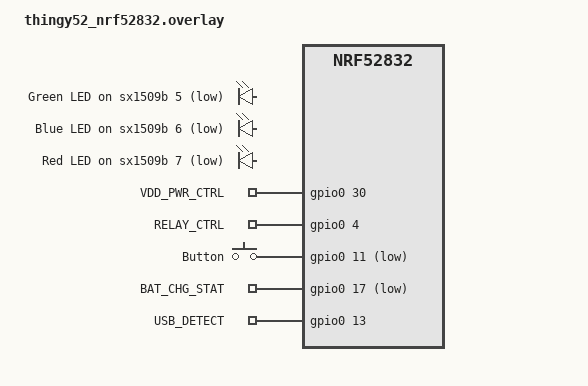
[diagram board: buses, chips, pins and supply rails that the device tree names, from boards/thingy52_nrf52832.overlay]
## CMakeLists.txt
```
#
# Copyright (c) 2019 Nordic Semiconductor ASA
#
# SPDX-License-Identifier: LicenseRef-BSD-5-Clause-Nordic
#
cmake_minimum_required(VERSION 3.8.2)

find_package(Zephyr REQUIRED HINTS $ENV{ZEPHYR_BASE})
project(NONE)

target_sources(app PRIVATE
	src/main.c
	src/model_handler.c
	src/fogger.c)
target_include_directories(app PRIVATE include)
```

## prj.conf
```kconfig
#
# Copyright (c) 2019 Nordic Semiconductor ASA
#
# SPDX-License-Identifier: LicenseRef-BSD-5-Clause-Nordic
#
CONFIG_NCS_SAMPLES_DEFAULTS=y

# General configuration
CONFIG_SYSTEM_WORKQUEUE_STACK_SIZE=2048
CONFIG_FLASH=y
CONFIG_FLASH_MAP=y
CONFIG_FCB=y
CONFIG_SETTINGS=y
CONFIG_HWINFO=y
CONFIG_LOG=n
CONFIG_LOG_PRINTK=n

CONFIG_BT_MESH_DK_PROV=y

# Bluetooth configuration
CONFIG_BT=y
CONFIG_BT_COMPANY_ID=0x0059
CONFIG_BT_DEVICE_NAME="Mesh Light"
CONFIG_BT_L2CAP_RX_MTU=69
CONFIG_BT_L2CAP_TX_MTU=69
CONFIG_BT_L2CAP_TX_BUF_COUNT=8
CONFIG_BT_LL_SW_SPLIT=y
CONFIG_BT_OBSERVER=y
CONFIG_BT_PERIPHERAL=y
CONFIG_BT_SETTINGS=y
CONFIG_BT_HCI_ACL_FLOW_CONTROL=n

# Disable unused Bluetooth features
CONFIG_BT_CTLR_DUP_FILTER_LEN=0
CONFIG_BT_CTLR_LE_ENC=n
CONFIG_BT_DATA_LEN_UPDATE=n
CONFIG_BT_PHY_UPDATE=n
CONFIG_BT_CTLR_CHAN_SEL_2=n
CONFIG_BT_CTLR_MIN_USED_CHAN=n
CONFIG_BT_CTLR_PRIVACY=n

# Bluetooth Mesh configuration
CONFIG_BT_MESH=y
CONFIG_BT_MESH_RELAY=y
CONFIG_BT_MESH_FRIEND=y
CONFIG_BT_MESH_ADV_BUF_COUNT=13
CONFIG_BT_MESH_TX_SEG_MAX=10
CONFIG_BT_MESH_PB_GATT=y
CONFIG_BT_MESH_GATT_PROXY=y

# Bluetooth Mesh models
CONFIG_BT_MESH_ONOFF_SRV=y

CONFIG_DEBUG=n
```

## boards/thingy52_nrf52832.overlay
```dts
/*
 * Copyright (c) 2020 Daniel Veilleux
 *
 * SPDX-License-Identifier: Apache-2.0
 */

/ {
	leds {
		compatible = "gpio-leds";
		/* Lightwell RGB */
		led0: led_0 {
			gpios = <&sx1509b 5 GPIO_ACTIVE_LOW>;
			label = "Green LED";
		};
		led1: led_1 {
			gpios = <&sx1509b 6 GPIO_ACTIVE_LOW>;
			label = "Blue LED";
		};
		led2: led_2 {
			gpios = <&sx1509b 7 GPIO_ACTIVE_LOW>;
			label = "Red LED";
		};
		VDD_PWR_CTRL: vdd_pwr_ctrl {
			gpios = <&gpio0 30 GPIO_ACTIVE_HIGH>;
			label = "VDD_PWR_CTRL";
		};
		RELAY_CTRL: relay_ctrl {
			gpios = <&gpio0 4 GPIO_ACTIVE_HIGH>;
			label = "RELAY_CTRL";
		};
	};

	buttons {
		compatible = "gpio-keys";
		button0: button_0 {
			/* gpio flags need validation */
			gpios = <&gpio0 11 (GPIO_PULL_UP | GPIO_ACTIVE_LOW)>;
			label = "Button";
		};
    	BAT_CHG_STATE: bat_chg_stat {
			gpios = <&gpio0 17 GPIO_ACTIVE_LOW>;
			label = "BAT_CHG_STAT";
		};
    	USB_DETECT: usb_detect {
			gpios = <&gpio0 13 GPIO_ACTIVE_HIGH>;
			label = "USB_DETECT";
		};
	};
};
```

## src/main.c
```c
/*
 * Copyright (c) 2020 Daniel Veilleux
 *
 * SPDX-License-Identifier: LicenseRef-BSD-5-Clause-Nordic
 */

#include <device.h>
#include <drivers/gpio.h>
#include <bluetooth/bluetooth.h>
#include <bluetooth/mesh/models.h>
#include <bluetooth/mesh/dk_prov.h>
#include "model_handler.h"
#include "fogger.h"

#define SWITCH_DEBOUNCE_MS  200

enum fogger_elem {
    FOGGER_ELEM_BUTTON,
    FOGGER_ELEM_READY
};

static const char * const   m_button_port  = DT_GPIO_LABEL(DT_NODELABEL(button0), gpios);
static const u8_t           m_button_pin   = DT_GPIO_PIN(DT_NODELABEL(button0),   gpios);
static const u32_t          m_button_flags = DT_GPIO_FLAGS(DT_NODELABEL(button0), gpios);
static struct device       *m_button_dev;

static struct gpio_callback m_gpio_cb_data;

static const char * const   m_err_led_port  = DT_GPIO_LABEL(DT_NODELABEL(led2), gpios);
static const u8_t           m_err_led_pin   = DT_GPIO_PIN(DT_NODELABEL(led2),   gpios);
static const u32_t          m_err_led_flags = DT_GPIO_FLAGS(DT_NODELABEL(led2), gpios);
static struct device       *m_err_led_dev;

static bool m_button_pressed;

static void debounce_timer_expire(struct k_timer *timer_id);

K_TIMER_DEFINE(main_debounce_timer, debounce_timer_expire, NULL);

static void oops(void);
static void fogger_callback(enum fogger_state status);

static struct k_work fogger_status_work;

static void workq_fogger_status(struct k_work *item)
{
    int err;
    enum fogger_state state;

    err = fogger_state_get(&state);
    if (err) {
        oops();
        return;
    }
    fogger_callback(state);
}

static void debounce_timer_expire(struct k_timer *timer_id)
{
    int val = gpio_pin_get(m_button_dev, m_button_pin);
    if (val) {
        if (!m_button_pressed) {
            fogger_start();
            m_button_pressed = true;
        }
    } else {
        if (m_button_pressed) {
            fogger_stop();
            m_button_pressed = false;
        }
    }
}

static void input_changed(struct device *dev, struct gpio_callback *cb, u32_t pins)
{
    k_timer_start(&main_debounce_timer, K_MSEC(SWITCH_DEBOUNCE_MS), K_MSEC(0));
}

static int gpio_init(void)
{
    int ret;

    m_button_dev = device_get_binding(m_button_port);
    if (!m_button_dev) {
        return -ENODEV;
    }

    m_err_led_dev = device_get_binding(m_err_led_port);
    if (!m_err_led_dev) {
        return -ENODEV;
    }

    ret = gpio_pin_configure(m_button_dev, m_button_pin, (GPIO_INPUT | m_button_flags));
    if (ret != 0) {
        return ret;
    }

    ret = gpio_pin_configure(m_err_led_dev, m_err_led_pin, (GPIO_OUTPUT | m_err_led_flags));
    if (ret != 0) {
        return ret;
    }

    ret = gpio_pin_interrupt_configure(m_button_dev,
                                       m_button_pin,
                                       GPIO_INT_EDGE_BOTH);
    if (ret != 0) {
        return ret;
    }

    gpio_init_callback(&m_gpio_cb_data, input_changed, BIT(m_button_pin));
    gpio_add_callback(m_button_dev, &m_gpio_cb_data);

    return 0;
}

static void oops(void)
{
    gpio_pin_set(m_err_led_dev, m_err_led_pin, 1);
    k_oops();
}

static void model_handler_callback(uint8_t elem_indx, bool status)
{
    switch (elem_indx) {
    case FOGGER_ELEM_BUTTON:
        if (status) {
            fogger_start();
        } else {
            fogger_stop();
        }
        break;
    case FOGGER_ELEM_READY:
        /* Writing to this element doesn't have any effect. Immediately generate a status
           callback to ensure that the value in the mesh is up-to-date. */
        k_work_submit(&fogger_status_work);
        break;
    default:
        oops();
        break;
    }
}

static void fogger_callback(enum fogger_state status)
{
    int err;

    switch (status) {
    case FOGGER_STATE_HEATING:
        err = model_handler_elem_update(FOGGER_ELEM_BUTTON, false);
        if (err) {
            oops();
            return;
        }
        err = model_handler_elem_update(FOGGER_ELEM_READY, false);
        if (err) {
            oops();
            return;
        }
        break;
    case FOGGER_STATE_READY:
        if (m_button_pressed) {
            fogger_start();
        }
        err = model_handler_elem_update(FOGGER_ELEM_BUTTON, false);
        if (err) {
            oops();
            return;
        }
        err = model_handler_elem_update(FOGGER_ELEM_READY, true);
        if (err) {
            oops();
            return;
        }
        break;
    case FOGGER_STATE_FOGGING:
        err = model_handler_elem_update(FOGGER_ELEM_BUTTON, true);
        if (err) {
            oops();
            return;
        }
        err = model_handler_elem_update(FOGGER_ELEM_READY, true);
        if (err) {
            oops();
            return;
        }
        break;
    default:
        oops();
        break;
    }
}

static void bt_ready(int err)
{
    const struct bt_mesh_comp *p_comp;

    if (err) {
        oops();
        return;
    }

    err = model_handler_init(&p_comp, &model_handler_callback);
    if (err) {
        oops();
        return;
    }

    err = bt_mesh_init(bt_mesh_dk_prov_init(), p_comp);
    if (err) {
        oops();
        return;
    }

    if (IS_ENABLED(CONFIG_SETTINGS)) {
        settings_load();
    }

    /* This will be a no-op if settings_load() loaded provisioning info */
    bt_mesh_prov_enable(BT_MESH_PROV_ADV | BT_MESH_PROV_GATT);

    k_work_submit(&fogger_status_work);
}

int main(void)
{
    int err;

    k_work_init(&fogger_status_work,workq_fogger_status);

    err = gpio_init();
    if (err) {
        oops();
    }

    m_button_pressed = gpio_pin_get(m_button_dev, m_button_pin);

    err = fogger_init(&fogger_callback);
    if (err) {
        oops();
    }

    err = bt_enable(bt_ready);
    if (err) {
        oops();
    }

    return 0;
}
```

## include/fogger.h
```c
/*
 * Copyright (c) 2020 Daniel Veilleux
 *
 * SPDX-License-Identifier: LicenseRef-BSD-5-Clause-Nordic
 */

#ifndef FOGGER_H__
#define FOGGER_H__

enum fogger_state {
	FOGGER_STATE_HEATING,
	FOGGER_STATE_READY,
	FOGGER_STATE_FOGGING
};

/* Called whenever the fogger changes state */
typedef void (*fogger_status_cb)(enum fogger_state);

/**
 * @brief Initialize GPIO and internal state
 *
 * @retval  0 success
 * @retval -2 GPIO init failed
 */
int fogger_init(fogger_status_cb p_status_cb);

/**
 * @brief Get the current state of the fogger
 *
 * @retval -1 module has not been initialized
 * @retval -2 state is NULL
 */
int fogger_state_get(enum fogger_state *p_state);

/**
 * @brief Start producing fog, if possible
 *
 * Attempt to start the fog machine. Has no effect if the machine is currently
 * active or is not ready because it is heating. Uses the system workqueue.
 *
 * @retval -1 module has not been initialized
 */
int fogger_start(void);

/**
 * @brief Stop producing fog
 *
 * Ensure that the fog machine is not producing fog. Has no effect if the
 * machine is not currently fogging. Uses the system workqueue.
 *
 * @retval -1 module has not been initialized
 */
int fogger_stop(void);

#endif /* FOGGER_H__ */
```

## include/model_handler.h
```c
/*
 * Copyright (c) 2019 Nordic Semiconductor ASA
 *
 * SPDX-License-Identifier: LicenseRef-BSD-5-Clause-Nordic
 */

/**
 * @file
 * @brief Model handler
 */

#ifndef MODEL_HANDLER_H__
#define MODEL_HANDLER_H__

#include <bluetooth/mesh.h>

#ifdef __cplusplus
extern "C" {
#endif

#define ELEMENT_COUNT 2

/* Called whenever an element receives a 'set' command */
typedef void (*model_handler_set_cb)(uint8_t elem_indx, bool status);

/**
 * @brief Initialize GPIO and workqueue items
 *
 * @retval  0 success
 * @retval -1 set_cb is NULL
 */
const int model_handler_init(const struct bt_mesh_comp **p_comp, model_handler_set_cb p_set_cb);

/**
 * @brief Set the specified element's status
 *
 * @retval  0 success
 * @retval -1 module has not been initialized
 * @retval -2 element_index is invalid
 */
int model_handler_elem_update(uint8_t elem_indx, bool status);

#ifdef __cplusplus
}
#endif

#endif /* MODEL_HANDLER_H__ */
```

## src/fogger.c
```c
/*
 * Copyright (c) 2020 Daniel Veilleux
 *
 * SPDX-License-Identifier: LicenseRef-BSD-5-Clause-Nordic
 */

#include <drivers/gpio.h>
#include "fogger.h"

#define SWITCH_DEBOUNCE_MS  50

static const char * const   m_usb_detect_port  = DT_GPIO_LABEL(DT_NODELABEL(usb_detect), gpios);
static const u8_t           m_usb_detect_pin   = DT_GPIO_PIN(DT_NODELABEL(usb_detect),   gpios);
static const u32_t          m_usb_detect_flags = DT_GPIO_FLAGS(DT_NODELABEL(usb_detect), gpios);
static struct device       *m_usb_detect_dev;

static struct gpio_callback m_gpio_cb_data;

static const char * const   m_relay_ctrl_port  = DT_GPIO_LABEL(DT_NODELABEL(relay_ctrl), gpios);
static const u8_t           m_relay_ctrl_pin   = DT_GPIO_PIN(DT_NODELABEL(relay_ctrl),   gpios);
static const u32_t          m_relay_ctrl_flags = DT_GPIO_FLAGS(DT_NODELABEL(relay_ctrl), gpios);
static struct device       *m_relay_ctrl_dev;

static bool             m_initialized = false;
static bool             m_relay_engaged;
static bool             m_machine_ready;
static fogger_status_cb m_status_cb;

static void debounce_timer_expire(struct k_timer *timer_id);

K_TIMER_DEFINE(fogger_debounce_timer, debounce_timer_expire, NULL);

static struct k_work m_fogger_status_work;
static struct k_work m_fogger_start_work;
static struct k_work m_fogger_stop_work;

static enum fogger_state status_get(void)
{
    if (!m_machine_ready) {
        return FOGGER_STATE_HEATING;
    } else if (m_relay_engaged) {
        return FOGGER_STATE_FOGGING;
    } else {
        return FOGGER_STATE_READY;
    }
}

static bool relay_set(bool state)
{
    if (state) {
        if (!m_relay_engaged) {
            m_relay_engaged = true;
            gpio_pin_set(m_relay_ctrl_dev, m_relay_ctrl_pin, 1);
            return true;
        }
    } else {
        if (m_relay_engaged) {
            m_relay_engaged = false;
            gpio_pin_set(m_relay_ctrl_dev, m_relay_ctrl_pin, 0);
            return true;
        }
    }
    return false;
}

static void workq_status_cb(struct k_work *item)
{
    if (NULL != m_status_cb) {
        m_status_cb(status_get());
    }
}

static void workq_fogger_start(struct k_work *item)
{
    if (m_machine_ready) {
        if (relay_set(true)) {
            if (NULL != m_status_cb) {
                m_status_cb(FOGGER_STATE_FOGGING);
            }
        }
    } else {
        /* Use the callback to set the state back to zero. */
        if (NULL != m_status_cb) {
            m_status_cb(FOGGER_STATE_HEATING);
        }
    }
}

static void workq_fogger_stop(struct k_work *item)
{
    if (relay_set(false)) {
        if (NULL != m_status_cb) {
            m_status_cb(status_get());
        }
    }
}

static void debounce_timer_expire(struct k_timer *timer_id)
{
    int val = gpio_pin_get(m_usb_detect_dev, m_usb_detect_pin);
    if (val) {
        if (!m_machine_ready) {
            k_work_submit(&m_fogger_status_work);
            m_machine_ready = true;
        }

    } else {
        if (m_machine_ready) {
            if (m_relay_engaged) {
                k_work_submit(&m_fogger_stop_work);
            } else {
                k_work_submit(&m_fogger_status_work);
            }
            m_machine_ready = false;
        }
    }
}

static void input_changed(struct device *dev, struct gpio_callback *cb, u32_t pins)
{
    k_timer_start(&fogger_debounce_timer, K_MSEC(SWITCH_DEBOUNCE_MS), K_MSEC(0));
}

static int gpio_init(void)
{
    int ret;

    m_usb_detect_dev = device_get_binding(m_usb_detect_port);
    if (!m_usb_detect_dev) {
        return -ENODEV;
    }

    m_relay_ctrl_dev = device_get_binding(m_relay_ctrl_port);
    if (!m_relay_ctrl_dev) {
        return -ENODEV;
    }

    ret = gpio_pin_configure(m_usb_detect_dev, m_usb_detect_pin, (GPIO_INPUT | m_usb_detect_flags));
    if (ret != 0) {
        return ret;
    }

    ret = gpio_pin_configure(m_relay_ctrl_dev, m_relay_ctrl_pin, (GPIO_OUTPUT | m_relay_ctrl_flags));
    if (ret != 0) {
        return ret;
    }

    ret = gpio_pin_interrupt_configure(m_usb_detect_dev,
                                       m_usb_detect_pin,
                                       GPIO_INT_EDGE_BOTH);
    if (ret != 0) {
        return ret;
    }

    gpio_init_callback(&m_gpio_cb_data, input_changed, BIT(m_usb_detect_pin));
    gpio_add_callback(m_usb_detect_dev, &m_gpio_cb_data);

    return 0;
}

int fogger_start(void)
{
    if (!m_initialized) {
        return -1;
    }
    k_work_submit(&m_fogger_start_work);
    return 0;
}

int fogger_stop(void)
{
    if (!m_initialized) {
        return -1;
    }
    k_work_submit(&m_fogger_stop_work);
    return 0;
}

int fogger_state_get(enum fogger_state *p_state)
{
    if (!m_initialized) {
        return -1;
    }

    if (NULL == p_state) {
        return -2;
    }

    *p_state = status_get();
    return 0;
}

int fogger_init(fogger_status_cb p_status_cb)
{
    int err = gpio_init();
    if (err) {
        return -2;
    }

    gpio_pin_set(m_relay_ctrl_dev, m_relay_ctrl_pin, 0);

    k_work_init(&m_fogger_status_work, workq_status_cb);
    k_work_init(&m_fogger_stop_work,   workq_fogger_stop);
    k_work_init(&m_fogger_start_work,  workq_fogger_start);

    m_relay_engaged  = false;
    m_machine_ready  = gpio_pin_get(m_usb_detect_dev, m_usb_detect_pin);
    m_status_cb      = p_status_cb;
    m_initialized    = true;

    return 0;
}
```

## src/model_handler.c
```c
/*
 * Copyright (c) 2020 Daniel Veilleux
 *
 * SPDX-License-Identifier: LicenseRef-BSD-5-Clause-Nordic
 */

#include <drivers/gpio.h>
#include <bluetooth/bluetooth.h>
#include <bluetooth/mesh/models.h>
#include "model_handler.h"


static bool                 m_initialized = false;
static model_handler_set_cb m_set_cb = NULL;

static const char * const   m_attention_led_port  = DT_GPIO_LABEL(DT_NODELABEL(led1), gpios);
static const u8_t           m_attention_led_pin   = DT_GPIO_PIN(DT_NODELABEL(led1),   gpios);
static const u32_t          m_attention_led_flags = DT_GPIO_FLAGS(DT_NODELABEL(led1), gpios);
static struct device       *m_attention_led_dev;

static void led_set(struct bt_mesh_onoff_srv *srv, struct bt_mesh_msg_ctx *ctx,
            const struct bt_mesh_onoff_set *set,
            struct bt_mesh_onoff_status *rsp);

static void led_get(struct bt_mesh_onoff_srv *srv, struct bt_mesh_msg_ctx *ctx,
            struct bt_mesh_onoff_status *rsp);

static const struct bt_mesh_onoff_srv_handlers onoff_handlers = {
    .set = led_set,
    .get = led_get,
};

struct led_ctx {
    struct bt_mesh_onoff_srv srv;
    struct k_delayed_work work;
    u32_t remaining;
    bool value;
};

static struct led_ctx led_ctx[ELEMENT_COUNT] = {
    [0 ... 1] = {
        .srv = BT_MESH_ONOFF_SRV_INIT(&onoff_handlers),
    }
};

static void led_transition_start(struct led_ctx *led)
{
    int led_idx = led - &led_ctx[0];

    /* As long as the transition is in progress, the onoff
     * state is "on":
     */

    m_set_cb(led_idx, 1);
    k_delayed_work_submit(&led->work, K_MSEC(led->remaining));
    led->remaining = 0;
}

static void led_status(struct led_ctx *led, struct bt_mesh_onoff_status *status)
{
    status->remaining_time =
        k_delayed_work_remaining_get(&led->work) + led->remaining;
    status->target_on_off = led->value;
    /* As long as the transition is in progress, the onoff state is "on": */
    status->present_on_off = led->value || status->remaining_time;
}

static void led_set(struct bt_mesh_onoff_srv *srv, struct bt_mesh_msg_ctx *ctx,
            const struct bt_mesh_onoff_set *set,
            struct bt_mesh_onoff_status *rsp)
{
    struct led_ctx *led = CONTAINER_OF(srv, struct led_ctx, srv);
    int led_idx = led - &led_ctx[0];

    if (set->on_off == led->value) {
        goto respond;
    }

    led->value = set->on_off;
    led->remaining = set->transition->time;

    if (set->transition->delay > 0) {
        k_delayed_work_submit(&led->work,
                      K_MSEC(set->transition->delay));
    } else if (set->transition->time > 0) {
        led_transition_start(led);
    } else {
        m_set_cb(led_idx, set->on_off);
    }

respond:
    if (rsp) {
        led_status(led, rsp);
    }
}

static void led_get(struct bt_mesh_onoff_srv *srv, struct bt_mesh_msg_ctx *ctx,
            struct bt_mesh_onoff_status *rsp)
{
    struct led_ctx *led = CONTAINER_OF(srv, struct led_ctx, srv);

    led_status(led, rsp);
}

static void led_work(struct k_work *work)
{
    struct led_ctx *led = CONTAINER_OF(work, struct led_ctx, work.work);
    int led_idx = led - &led_ctx[0];

    if (led->remaining) {
        led_transition_start(led);
    } else {
        m_set_cb(led_idx, led->value);

        /* Publish the new value at the end of the transition */
        struct bt_mesh_onoff_status status;

        led_status(led, &status);
        bt_mesh_onoff_srv_pub(&led->srv, NULL, &status);
    }
}

/** Configuration server definition */
static struct bt_mesh_cfg_srv cfg_srv = {
    .relay = IS_ENABLED(CONFIG_BT_MESH_RELAY),
    .beacon = BT_MESH_BEACON_ENABLED,
    .frnd = IS_ENABLED(CONFIG_BT_MESH_FRIEND),
    .gatt_proxy = IS_ENABLED(CONFIG_BT_MESH_GATT_PROXY),
    .default_ttl = 7,

    /* 3 transmissions with 20ms interval */
    .net_transmit = BT_MESH_TRANSMIT(2, 20),
    .relay_retransmit = BT_MESH_TRANSMIT(2, 20),
};

/* Set up a repeating delayed work to blink the DK's LEDs when attention is
 * requested.
 */
static struct k_delayed_work attention_blink_work;

static void attention_blink(struct k_work *work)
{
    static bool state=true;
    if (m_attention_led_dev) {
        gpio_pin_set(m_attention_led_dev, m_attention_led_pin, state);
        state = !state;
    }
    k_delayed_work_submit(&attention_blink_work, K_MSEC(100));
}

static void attention_on(struct bt_mesh_model *mod)
{
    k_delayed_work_submit(&attention_blink_work, K_NO_WAIT);
}

static void attention_off(struct bt_mesh_model *mod)
{
    k_delayed_work_cancel(&attention_blink_work);
    if (m_attention_led_dev) {
        gpio_pin_set(m_attention_led_dev, m_attention_led_pin, 0);
    }
}

static const struct bt_mesh_health_srv_cb health_srv_cb = {
    .attn_on = attention_on,
    .attn_off = attention_off,
};

static struct bt_mesh_health_srv health_srv = {
    .cb = &health_srv_cb,
};

BT_MESH_HEALTH_PUB_DEFINE(health_pub, 0);

static struct bt_mesh_elem elements[] = {
    BT_MESH_ELEM(
        1, BT_MESH_MODEL_LIST(
            BT_MESH_MODEL_CFG_SRV(&cfg_srv),
            BT_MESH_MODEL_HEALTH_SRV(&health_srv, &health_pub),
            BT_MESH_MODEL_ONOFF_SRV(&led_ctx[0].srv)),
        BT_MESH_MODEL_NONE),
    BT_MESH_ELEM(
        2, BT_MESH_MODEL_LIST(BT_MESH_MODEL_ONOFF_SRV(&led_ctx[1].srv)),
        BT_MESH_MODEL_NONE),
};

static const struct bt_mesh_comp comp = {
    .cid = CONFIG_BT_COMPANY_ID,
    .elem = elements,
    .elem_count = ARRAY_SIZE(elements),
};

int model_handler_elem_update(uint8_t elem_indx, bool status)
{
    if (!m_initialized) {
        return -1;
    }

    if (ELEMENT_COUNT <= elem_indx) {
        return -2;
    }

    struct led_ctx *led;
    led            = &led_ctx[elem_indx];
    led->value     = status;
    led->remaining = 0;

    struct bt_mesh_onoff_status onoff_status;
    onoff_status.remaining_time = 0;
    onoff_status.target_on_off  = status;
    onoff_status.present_on_off = status;

    bt_mesh_onoff_srv_pub(&led->srv, NULL, &onoff_status);
    return 0;
};

const int model_handler_init(const struct bt_mesh_comp **p_comp, model_handler_set_cb p_set_cb)
{
    if (NULL == p_set_cb) {
        return -1;
    }

    *p_comp = &comp;

    k_delayed_work_init(&attention_blink_work, attention_blink);

    for (int i = 0; i < ARRAY_SIZE(led_ctx); ++i) {
        k_delayed_work_init(&led_ctx[i].work, led_work);
    }

    m_attention_led_dev = device_get_binding(m_attention_led_port);
    if (m_attention_led_dev) {
        (void) gpio_pin_configure(m_attention_led_dev,
                                  m_attention_led_pin,
                                  (GPIO_OUTPUT | m_attention_led_flags));
    }

    m_set_cb      = p_set_cb;
    m_initialized = true;

    return 0;
}
```
